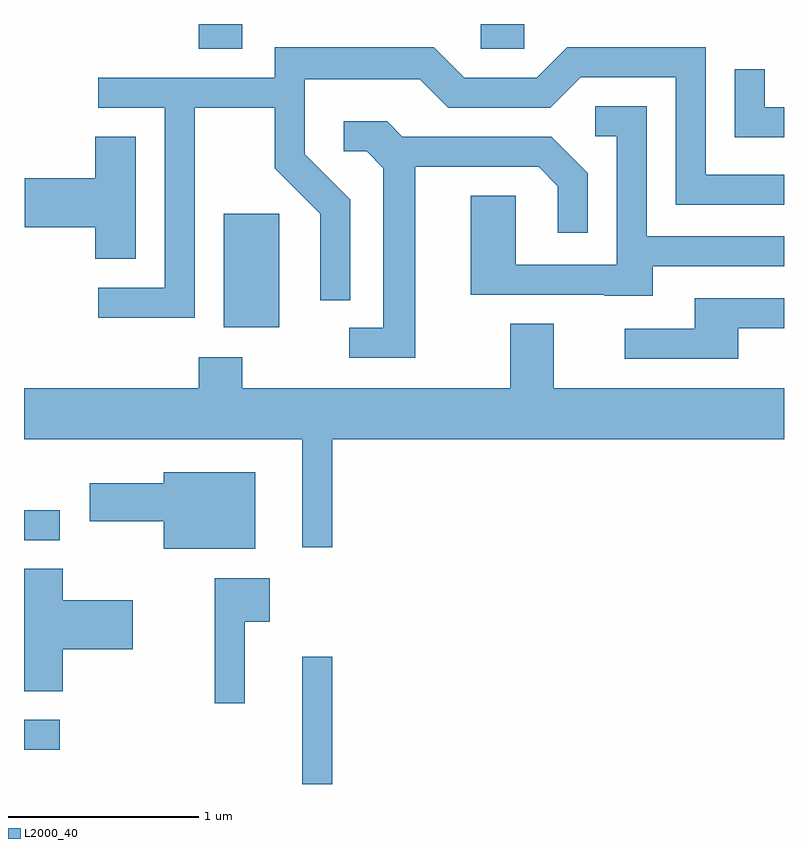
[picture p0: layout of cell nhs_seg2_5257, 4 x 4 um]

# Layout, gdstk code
import gdstk
lib = gdstk.Library(unit=1e-6, precision=1e-09)
def R(c, l, rs):  # rectangles x0, y0, x1, y1
    for r in rs: c.add(gdstk.rectangle(r[:2], r[2:], *l))
def P(c, l, *ps):  # polygons
    for p in ps: c.add(gdstk.Polygon(p, *l))
L2000_40 = (2000, 40)

nhs_seg2_5257 = lib.new_cell('nhs_seg2_5257')
R(nhs_seg2_5257, L2000_40, [(341.076,1079.802,341.234,1080.473), (339.611,1079.981,339.798,1080.139), (339.611,1081.086,339.798,1081.244), (340.661,1082.206,340.954,1082.804), (340.531,1083.671,340.759,1083.802), (342.016,1083.671,342.244,1083.802)])
P(nhs_seg2_5257, L2000_40, [(340.509,1083.361),(340.931,1083.361),(340.931,1083.044),(341.171,1082.804),(341.171,1082.348),(341.329,1082.348),(341.329,1082.877),(341.089,1083.117),(341.089,1083.511),(341.694,1083.511),(341.844,1083.361),(342.382,1083.361),(342.542,1083.521),(343.041,1083.521),(343.041,1082.851),(343.611,1082.851),(343.611,1083.009),(343.199,1083.009),(343.199,1083.679),(342.469,1083.679),(342.309,1083.519),(341.927,1083.519),(341.767,1083.679),(340.931,1083.679),(340.931,1083.519),(340.003,1083.519),(340.003,1083.361),(340.351,1083.361),(340.351,1082.414),(340.003,1082.414),(340.003,1082.256),(340.509,1082.256)],
  [(343.611,1083.364),(343.509,1083.364),(343.509,1083.563),(343.351,1083.563),(343.351,1083.206),(343.611,1083.206)],
  [(342.919,1082.526),(343.611,1082.526),(343.611,1082.684),(342.889,1082.684),(342.889,1083.369),(342.618,1083.369),(342.618,1083.211),(342.731,1083.211),(342.731,1082.534),(342.199,1082.534),(342.199,1082.899),(341.961,1082.899),(341.961,1082.376),(342.665,1082.376),(342.665,1082.371),(342.919,1082.371)],
  [(341.669,1083.051),(342.319,1083.051),(342.421,1082.949),(342.421,1082.703),(342.579,1082.703),(342.579,1083.017),(342.387,1083.209),(341.602,1083.209),(341.522,1083.289),(341.293,1083.289),(341.293,1083.131),(341.414,1083.131),(341.501,1083.044),(341.501,1082.204),(341.323,1082.204),(341.323,1082.046),(341.669,1082.046)],
  [(340.199,1083.209),(339.986,1083.209),(339.986,1082.989),(339.616,1082.989),(339.616,1082.731),(339.986,1082.731),(339.986,1082.566),(340.199,1082.566)],
  [(343.369,1082.201),(343.611,1082.201),(343.611,1082.359),(343.141,1082.359),(343.141,1082.199),(342.773,1082.199),(342.773,1082.041),(343.369,1082.041)],
  [(341.234,1081.616),(343.611,1081.616),(343.611,1081.884),(342.399,1081.884),(342.399,1082.224),(342.171,1082.224),(342.171,1081.884),(340.759,1081.884),(340.759,1082.049),(340.531,1082.049),(340.531,1081.884),(339.611,1081.884),(339.611,1081.616),(341.076,1081.616),(341.076,1081.048),(341.234,1081.048)],
  [(340.829,1081.444),(340.346,1081.444),(340.346,1081.384),(339.956,1081.384),(339.956,1081.186),(340.346,1081.186),(340.346,1081.041),(340.829,1081.041)],
  [(339.814,1080.511),(340.184,1080.511),(340.184,1080.769),(339.814,1080.769),(339.814,1080.934),(339.611,1080.934),(339.611,1080.291),(339.814,1080.291)],
  [(340.774,1080.656),(340.904,1080.656),(340.904,1080.884),(340.616,1080.884),(340.616,1080.228),(340.774,1080.228)])

lib.write_gds('nhs_seg2_5257.gds')
